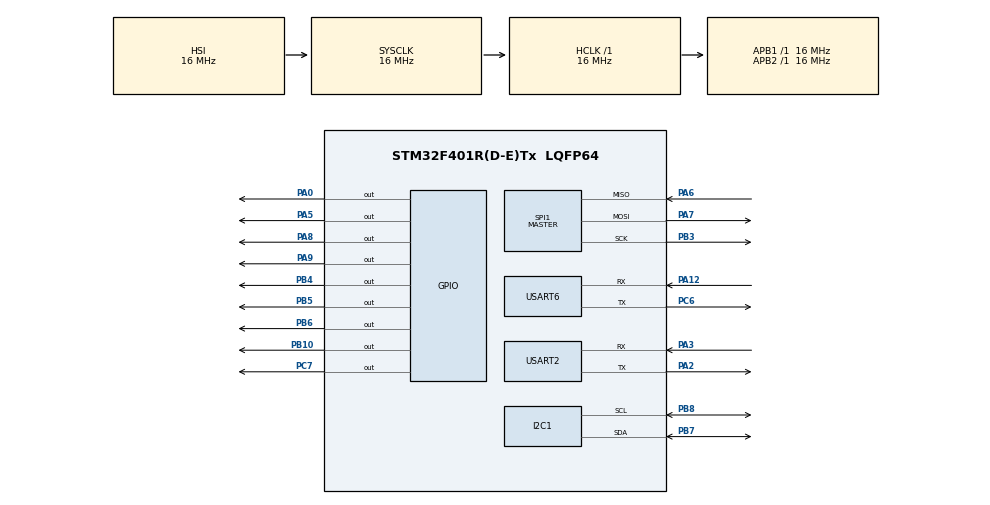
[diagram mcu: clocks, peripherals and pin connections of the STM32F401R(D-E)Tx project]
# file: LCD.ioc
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Mcu.Family=STM32F4
Mcu.Name=STM32F401R(D-E)Tx
Mcu.Package=LQFP64
NVIC.PriorityGroup=NVIC_PRIORITYGROUP_4
NVIC.TIM5_IRQn=true\:0\:0\:false\:false\:true\:false\:true
NVIC.TimeBase=TIM5_IRQn
NVIC.TimeBaseIP=TIM5
PA0-WKUP.Signal=GPIO_Output
PA12.Mode=Asynchronous
PA12.Signal=USART6_RX
PA2.Mode=Asynchronous
PA2.Signal=USART2_TX
PA3.Mode=Asynchronous
PA3.Signal=USART2_RX
PA5.Signal=GPIO_Output
PA6.Mode=Full_Duplex_Master
PA6.Signal=SPI1_MISO
PA7.Mode=Full_Duplex_Master
PA7.Signal=SPI1_MOSI
PA8.Signal=GPIO_Output
PA9.Signal=GPIO_Output
PB10.Signal=GPIO_Output
PB3.Mode=Full_Duplex_Master
PB3.Signal=SPI1_SCK
PB4.Signal=GPIO_Output
PB5.Signal=GPIO_Output
PB6.Signal=GPIO_Output
PB7.Mode=I2C
PB7.Signal=I2C1_SDA
PB8.Mode=I2C
PB8.Signal=I2C1_SCL
PC6.Mode=Asynchronous
PC6.Signal=USART6_TX
PC7.Signal=GPIO_Output
PH0\ -\ OSC_IN.Mode=HSE-External-Oscillator
PH0\ -\ OSC_IN.Signal=RCC_OSC_IN
PH1\ -\ OSC_OUT.Mode=HSE-External-Oscillator
PH1\ -\ OSC_OUT.Signal=RCC_OSC_OUT
ProjectManager.HeapSize=0x200
ProjectManager.StackSize=0x400
ProjectManager.TargetToolchain=STM32CubeIDE
RCC.AHBFreq_Value=16000000
RCC.APB1Freq_Value=16000000
RCC.APB2Freq_Value=16000000
RCC.CortexFreq_Value=16000000
RCC.HSE_VALUE=25000000
RCC.HSI_VALUE=16000000
RCC.LSE_VALUE=32768
RCC.SYSCLKFreq_VALUE=16000000
RCC.VCOOutputFreq_Value=192000000
SPI1.Direction=SPI_DIRECTION_2LINES
SPI1.Mode=SPI_MODE_MASTER
SPI1.VirtualType=VM_MASTER
USART2.VirtualMode=VM_ASYNC
USART6.VirtualMode=VM_ASYNC
VP_SYS_VS_tim5.Mode=TIM5
board=custom

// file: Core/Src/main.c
/* USER CODE BEGIN Header */
/**
  ******************************************************************************
  * @file           : main.c
  * @brief          : Main program body
  *
  * Create on: 		: 3-12-2019
  * Author: 		: Clifford Zhan
  * Description		: This program show "Initialising" on LCD screen.
  * 				  Other peripherals are initialised due to future project
  * 				  requirement.
  * 				  Change Pin definition in "lcd.h" to adapt to other MCU.
  *
  * Further Function: Can add an ADC to control select button.
  * 				  Button uses A0 to input analog signal. An voltage divider
  * 				  is used to identify different buttons
  ******************************************************************************
  * @attention
  *
  * <h2><center>&copy; Copyright (c) 2019 STMicroelectronics.
  * All rights reserved.</center></h2>
  *
  * This software component is licensed by ST under BSD 3-Clause license,
  * the "License"; You may not use this file except in compliance with the
  * License. You may obtain a copy of the License at:
  *                        opensource.org/licenses/BSD-3-Clause
  *
  ******************************************************************************
  */
/* USER CODE END Header */

#include "main.h"

/* USER CODE BEGIN Includes */
#include "retarget.h"
#include "lcd.h"
/* USER CODE END Includes */

I2C_HandleTypeDef hi2c1;

SPI_HandleTypeDef hspi1;

UART_HandleTypeDef huart2;
UART_HandleTypeDef huart6;

void SystemClock_Config(void);
static void MX_GPIO_Init(void);
static void MX_I2C1_Init(void);
static void MX_USART2_UART_Init(void);
static void MX_USART6_UART_Init(void);
static void MX_SPI1_Init(void);
/* USER CODE BEGIN PFP */
Lcd_HandleTypeDef Lcd_init(void);
/* USER CODE END PFP */

int main(void)
{

  /* MCU Configuration--------------------------------------------------------*/

  /* Reset of all peripherals, Initializes the Flash interface and the Systick. */
  HAL_Init();

  /* Configure the system clock */
  SystemClock_Config();

  /* Initialize all configured peripherals */
  MX_GPIO_Init();
  MX_I2C1_Init();
  MX_USART2_UART_Init();
  MX_USART6_UART_Init();
  MX_SPI1_Init();
  RetargetInit(&huart2);
  /* USER CODE BEGIN 2 */
  //Lcd_HandleTypeDef lcd = Lcd_init();
  Lcd_HandleTypeDef lcd;
  Lcd_PortType ports[] = {D4_GPIO_Port, D5_GPIO_Port, D6_GPIO_Port, D7_GPIO_Port};
  Lcd_PinType pins[] = {D4_Pin, D5_Pin, D6_Pin, D7_Pin};
  HAL_GPIO_WritePin(BL_GPIO_Port, BL_Pin, GPIO_PIN_SET);
  lcd = Lcd_create(ports, pins, RS_GPIO_Port, RS_Pin, EN_GPIO_Port, EN_Pin, LCD_4_BIT_MODE);
  Lcd_string(&lcd, "Initialising");
  //Lcd_cursor(&lcd, 1,6);
  //Lcd_int(&lcd, -500);
  /* USER CODE END 2 */
  /* Infinite loop */
  while (1)
  {

  }
}

void SystemClock_Config(void)
{
  RCC_OscInitTypeDef RCC_OscInitStruct = {0};
  RCC_ClkInitTypeDef RCC_ClkInitStruct = {0};

  /** Configure the main internal regulator output voltage
  */
  __HAL_RCC_PWR_CLK_ENABLE();
  __HAL_PWR_VOLTAGESCALING_CONFIG(PWR_REGULATOR_VOLTAGE_SCALE2);
  /** Initializes the CPU, AHB and APB busses clocks
  */
  RCC_OscInitStruct.OscillatorType = RCC_OSCILLATORTYPE_HSI;
  RCC_OscInitStruct.HSIState = RCC_HSI_ON;
  RCC_OscInitStruct.HSICalibrationValue = RCC_HSICALIBRATION_DEFAULT;
  RCC_OscInitStruct.PLL.PLLState = RCC_PLL_NONE;
  if (HAL_RCC_OscConfig(&RCC_OscInitStruct) != HAL_OK)
  {
    Error_Handler();
  }
  /** Initializes the CPU, AHB and APB busses clocks
  */
  RCC_ClkInitStruct.ClockType = RCC_CLOCKTYPE_HCLK|RCC_CLOCKTYPE_SYSCLK
                              |RCC_CLOCKTYPE_PCLK1|RCC_CLOCKTYPE_PCLK2;
  RCC_ClkInitStruct.SYSCLKSource = RCC_SYSCLKSOURCE_HSI;
  RCC_ClkInitStruct.AHBCLKDivider = RCC_SYSCLK_DIV1;
  RCC_ClkInitStruct.APB1CLKDivider = RCC_HCLK_DIV1;
  RCC_ClkInitStruct.APB2CLKDivider = RCC_HCLK_DIV1;

  if (HAL_RCC_ClockConfig(&RCC_ClkInitStruct, FLASH_LATENCY_0) != HAL_OK)
  {
    Error_Handler();
  }
}

static void MX_I2C1_Init(void)
{

  hi2c1.Instance = I2C1;
  hi2c1.Init.ClockSpeed = 100000;
  hi2c1.Init.DutyCycle = I2C_DUTYCYCLE_2;
  hi2c1.Init.OwnAddress1 = 0;
  hi2c1.Init.AddressingMode = I2C_ADDRESSINGMODE_7BIT;
  hi2c1.Init.DualAddressMode = I2C_DUALADDRESS_DISABLE;
  hi2c1.Init.OwnAddress2 = 0;
  hi2c1.Init.GeneralCallMode = I2C_GENERALCALL_DISABLE;
  hi2c1.Init.NoStretchMode = I2C_NOSTRETCH_DISABLE;
  if (HAL_I2C_Init(&hi2c1) != HAL_OK)
  {
    Error_Handler();
  }

}

static void MX_SPI1_Init(void)
{

  /* SPI1 parameter configuration*/
  hspi1.Instance = SPI1;
  hspi1.Init.Mode = SPI_MODE_MASTER;
  hspi1.Init.Direction = SPI_DIRECTION_2LINES;
  hspi1.Init.DataSize = SPI_DATASIZE_8BIT;
  hspi1.Init.CLKPolarity = SPI_POLARITY_LOW;
  hspi1.Init.CLKPhase = SPI_PHASE_1EDGE;
  hspi1.Init.NSS = SPI_NSS_SOFT;
  hspi1.Init.BaudRatePrescaler = SPI_BAUDRATEPRESCALER_2;
  hspi1.Init.FirstBit = SPI_FIRSTBIT_MSB;
  hspi1.Init.TIMode = SPI_TIMODE_DISABLE;
  hspi1.Init.CRCCalculation = SPI_CRCCALCULATION_DISABLE;
  hspi1.Init.CRCPolynomial = 10;
  if (HAL_SPI_Init(&hspi1) != HAL_OK)
  {
    Error_Handler();
  }

}

static void MX_USART2_UART_Init(void)
{

  huart2.Instance = USART2;
  huart2.Init.BaudRate = 115200;
  huart2.Init.WordLength = UART_WORDLENGTH_8B;
  huart2.Init.StopBits = UART_STOPBITS_1;
  huart2.Init.Parity = UART_PARITY_NONE;
  huart2.Init.Mode = UART_MODE_TX_RX;
  huart2.Init.HwFlowCtl = UART_HWCONTROL_NONE;
  huart2.Init.OverSampling = UART_OVERSAMPLING_16;
  if (HAL_UART_Init(&huart2) != HAL_OK)
  {
    Error_Handler();
  }

}

static void MX_USART6_UART_Init(void)
{

  huart6.Instance = USART6;
  huart6.Init.BaudRate = 115200;
  huart6.Init.WordLength = UART_WORDLENGTH_8B;
  huart6.Init.StopBits = UART_STOPBITS_1;
  huart6.Init.Parity = UART_PARITY_NONE;
  huart6.Init.Mode = UART_MODE_TX_RX;
  huart6.Init.HwFlowCtl = UART_HWCONTROL_NONE;
  huart6.Init.OverSampling = UART_OVERSAMPLING_16;
  if (HAL_UART_Init(&huart6) != HAL_OK)
  {
    Error_Handler();
  }

}

static void MX_GPIO_Init(void)
{
  GPIO_InitTypeDef GPIO_InitStruct = {0};

  /* GPIO Ports Clock Enable */
  __HAL_RCC_GPIOH_CLK_ENABLE();
  __HAL_RCC_GPIOA_CLK_ENABLE();
  __HAL_RCC_GPIOB_CLK_ENABLE();
  __HAL_RCC_GPIOC_CLK_ENABLE();

  /*Configure GPIO pin Output Level */
  HAL_GPIO_WritePin(GPIOA, GPIO_PIN_0|GPIO_PIN_5|GPIO_PIN_8|GPIO_PIN_9, GPIO_PIN_RESET);

  /*Configure GPIO pin Output Level */
  HAL_GPIO_WritePin(GPIOB, GPIO_PIN_10|GPIO_PIN_4|GPIO_PIN_5|GPIO_PIN_6, GPIO_PIN_RESET);

  /*Configure GPIO pin Output Level */
  HAL_GPIO_WritePin(GPIOC, GPIO_PIN_7, GPIO_PIN_RESET);

  /*Configure GPIO pins : PA0 PA5 PA8 PA9 */
  GPIO_InitStruct.Pin = GPIO_PIN_0|GPIO_PIN_5|GPIO_PIN_8|GPIO_PIN_9;
  GPIO_InitStruct.Mode = GPIO_MODE_OUTPUT_PP;
  GPIO_InitStruct.Pull = GPIO_NOPULL;
  GPIO_InitStruct.Speed = GPIO_SPEED_FREQ_LOW;
  HAL_GPIO_Init(GPIOA, &GPIO_InitStruct);

  /*Configure GPIO pins : PB10 PB4 PB5 PB6 */
  GPIO_InitStruct.Pin = GPIO_PIN_10|GPIO_PIN_4|GPIO_PIN_5|GPIO_PIN_6;
  GPIO_InitStruct.Mode = GPIO_MODE_OUTPUT_PP;
  GPIO_InitStruct.Pull = GPIO_NOPULL;
  GPIO_InitStruct.Speed = GPIO_SPEED_FREQ_LOW;
  HAL_GPIO_Init(GPIOB, &GPIO_InitStruct);

  /*Configure GPIO pin : PC7 */
  GPIO_InitStruct.Pin = GPIO_PIN_7;
  GPIO_InitStruct.Mode = GPIO_MODE_OUTPUT_PP;
  GPIO_InitStruct.Pull = GPIO_NOPULL;
  GPIO_InitStruct.Speed = GPIO_SPEED_FREQ_LOW;
  HAL_GPIO_Init(GPIOC, &GPIO_InitStruct);

}

/* USER CODE BEGIN 4 */
Lcd_HandleTypeDef Lcd_init(void)
{
	Lcd_HandleTypeDef lcd;

	Lcd_PortType ports[] = {D4_GPIO_Port, D5_GPIO_Port, D6_GPIO_Port, D7_GPIO_Port};
	Lcd_PinType pins[] = {D4_Pin, D5_Pin, D6_Pin, D7_Pin};
	HAL_GPIO_WritePin(BL_GPIO_Port, BL_Pin, GPIO_PIN_SET);

	lcd = Lcd_create(ports, pins, RS_GPIO_Port, RS_Pin, EN_GPIO_Port, EN_Pin, LCD_4_BIT_MODE);

	return lcd;
}
/* USER CODE END 4 */

void HAL_TIM_PeriodElapsedCallback(TIM_HandleTypeDef *htim)
{
  if (htim->Instance == TIM5) {
    HAL_IncTick();
  }
}

void Error_Handler(void)
{
}

/************************ (C) COPYRIGHT STMicroelectronics *****END OF FILE****/
